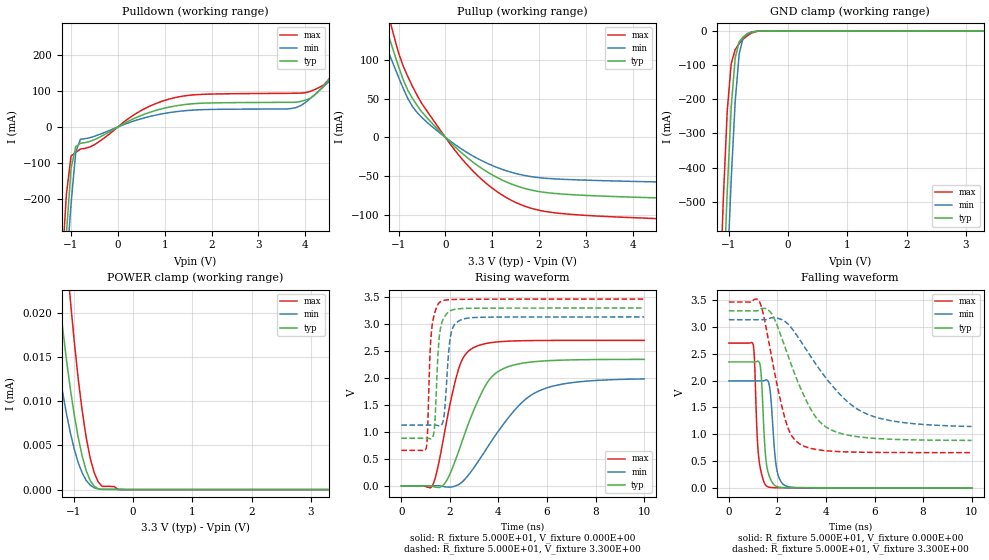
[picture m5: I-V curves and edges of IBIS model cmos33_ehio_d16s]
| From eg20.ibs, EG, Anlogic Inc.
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|   Model cmos33_ehio_d16s
[Model] cmos33_ehio_d16s
Model_type I/O
Enable   Active-Low
Vinl =  8.000E-01
Vinh =  2.000E+00
Vmeas =  1.650E+00
C_comp   4.500E-12   4.200E-12   4.800E-12
[Temperature Range]   2.500E+01   8.500E+01   -4.000E+01
[Voltage Range]   3.300E+00   3.135E+00   3.465E+00
[POWER Clamp Reference]   3.300E+00   3.135E+00   3.465E+00
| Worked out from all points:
|   slope of the pulldown table from 0 to 0.495 V, typ, clamps not added: 15.6 ohm
|   slope of the pullup table from 0 to 0.495 V, typ, clamps not added: 17.9 ohm
|   GND clamp passes 1 mA (typ) near -0.51 V on its own axis
|   rising waveform, R_fixture 5.000E+01, V_fixture 0.000E+00: 20-80 % time 1.26ns typ, 1.98ns min, 759ps max; typ from 0 V to 2.35 V
|   rising waveform, R_fixture 5.000E+01, V_fixture 3.300E+00: 20-80 % time 173ps typ, 203ps min, 154ps max; typ from 0.882 V to 3.3 V
|   falling waveform, R_fixture 5.000E+01, V_fixture 0.000E+00: 20-80 % time 180ps typ, 208ps min, 163ps max; typ from 2.35 V to 0 V
|   falling waveform, R_fixture 5.000E+01, V_fixture 3.300E+00: 20-80 % time 1.35ns typ, 2.11ns min, 793ps max; typ from 3.3 V to 0.884 V
[Pulldown]
|Voltage   I(typ)   I(min)   I(max)
-3.3V     -4.55A     -4.246A    -4.918A
-1.2V     -491mA     -565.4mA   -401.1mA
-1.1V     -297.1mA   -390mA     -187mA
-1V       -114.3mA   -212.6mA   -80.48mA
-900mV    -54.88mA   -69.43mA   -70.74mA
-800mV    -45.22mA   -34.04mA   -61.01mA
1.1V      55.06mA    39.68mA    77.35mA
3.8V      68.43mA    53.59mA    93.36mA
4.4V      115.3mA    112.8mA    116.8mA
5.2V      241.9mA    213.5mA    275.7mA
5.7V      323.1mA    278mA      380.6mA
6.6V      468.8mA    393.5mA    566.1mA
[Pullup]
|Voltage   I(typ)   I(min)   I(max)
-3.3V     349.4mA    284.2mA    467.8mA
-1.5V     187.1mA    154.9mA    226.8mA
-1.4V     167.8mA    139.3mA    202.9mA
-1.3V     148.6mA    123.8mA    179mA
-1.2V     129.4mA    108.3mA    155.1mA
-1.1V     110.4mA    92.98mA    131.6mA
-800mV    60.75mA    50.12mA    78.51mA
-500mV    32.8mA     25.65mA    43.53mA
600mV     -32.59mA   -24.49mA   -44.32mA
1.6V      -64.51mA   -48.19mA   -86.96mA
2.5V      -73.43mA   -54.24mA   -98.78mA
6.6V      -85.46mA   -63.01mA   -115.3mA
[GND_clamp]
|Voltage   I(typ)   I(min)   I(max)
-3.3V     -13.27A    -13.19A    -13.36A
-1.156V   -1.094A    -1.337A    -819.5mA
-1.089V   -767.1mA   -1.018A    -495.5mA
-1.022V   -466.7mA   -711mA     -232.4mA
-955mV    -221.7mA   -432.2mA   -95.74mA
-888mV    -78.86mA   -205.2mA   -54.97mA
-821mV    -31.69mA   -67.5mA    -37.18mA
-754mV    -17.67mA   -19.97mA   -24.38mA
-687mV    -10.19mA   -8.141mA   -14.58mA
-553mV    -2.019mA   -1.503mA   -2.763mA
-419mV    -87.67uA   -92.52uA   -70.16uA
3.3V      0A         0A         0A
[POWER_clamp]
|Voltage   I(typ)   I(min)   I(max)
-3.3V     274.8uA    207.9uA    379uA
-1.457V   37.35uA    24.22uA    60.83uA
-1.39V    32.14uA    20.54uA    53.14uA
-1.256V   22.74uA    14.02uA    39.05uA
-1.055V   11.4uA     6.454uA    21.51uA
-921mV    5.875uA    3.044uA    12.51uA
-854mV    3.77uA     1.87uA     8.882uA
-720mV    1.016uA    507.7nA    3.563uA
-653mV    378.7nA    210.7nA    1.919uA
-519mV    33.74nA    27.61nA    366.5nA
-251mV    15.63nA    21.83nA    13.64nA
3.3V      0A         0A         0A
[Ramp]
| variable   typ   min   max
dV/dt_r   1.408E+00/1.270E-09   1.191E+00/1.989E-09   1.620E+00/7.639E-10
dV/dt_f   1.449E+00/1.364E-09   1.195E+00/2.129E-09   1.685E+00/8.009E-10
R_load = 5.000E+01
[Rising Waveform]
R_fixture= 5.000E+01
V_fixture= 0.000E+00
V_fixture_min= 0.000E+00
V_fixture_max= 0.000E+00
|time   V(typ)   V(min)   V(max)
0s        0V         0V         0V
1.294ns   -12.04mV   -51.23uV   16.47mV
1.8ns     50.36mV    -20.53mV   1.036V
2.333ns   606.1mV    16.27mV    2.13V
2.609ns   961.3mV    117.2mV    2.419V
2.949ns   1.366V     309.4mV    2.558V
3.443ns   1.843V     642mV      2.637V
3.9ns     2.093V     953.3mV    2.668V
5.579ns   2.307V     1.742V     2.696V
10ns      2.347V     1.984V     2.699V
[Rising Waveform]
R_fixture= 5.000E+01
V_fixture= 3.300E+00
V_fixture_min= 3.135E+00
V_fixture_max= 3.465E+00
|time   V(typ)   V(min)   V(max)
0s        882.3mV    1.125V     657mV
1.026ns   882.6mV    1.125V     707.2mV
1.241ns   875.3mV    1.125V     2.862V
1.37ns    1.105V     1.126V     3.199V
1.516ns   2.49V      1.117V     3.373V
1.61ns    2.918V     1.111V     3.417V
1.769ns   3.133V     1.334V     3.443V
2.029ns   3.252V     2.786V     3.456V
2.425ns   3.288V     3.074V     3.461V
10ns      3.3V       3.135V     3.465V
[Falling Waveform]
R_fixture= 5.000E+01
V_fixture= 0.000E+00
V_fixture_min= 0.000E+00
V_fixture_max= 0.000E+00
|time   V(typ)   V(min)   V(max)
0s        2.347V     1.994V     2.699V
1.002ns   2.347V     1.994V     2.667V
1.211ns   2.36V      1.994V     662.4mV
1.328ns   2.136V     1.993V     299.9mV
1.478ns   804.5mV    2.002V     77.36mV
1.571ns   386.8mV    2.01V      27.67mV
1.712ns   167.5mV    1.768V     8.474mV
1.972ns   25.44mV    346.6mV    2.878mV
2.312ns   4.408mV    43.95mV    1.722mV
10ns      14.53uV    74.91uV    1.232uV
[Falling Waveform]
R_fixture= 5.000E+01
V_fixture= 3.300E+00
V_fixture_min= 3.135E+00
V_fixture_max= 3.465E+00
|time   V(typ)   V(min)   V(max)
0s        3.3V       3.135V     3.465V
1.277ns   3.324V     3.135V     3.456V
1.757ns   3.25V      3.17V      2.452V
2.301ns   2.64V      3.106V     1.313V
2.56ns    2.311V     2.991V     994.8mV
2.907ns   1.909V     2.77V      822.1mV
3.878ns   1.175V     2.12V      698mV
5.498ns   943mV      1.416V     663.7mV
7.16ns    899mV      1.219V     658.2mV
10ns      884.5mV    1.144V     657.1mV
